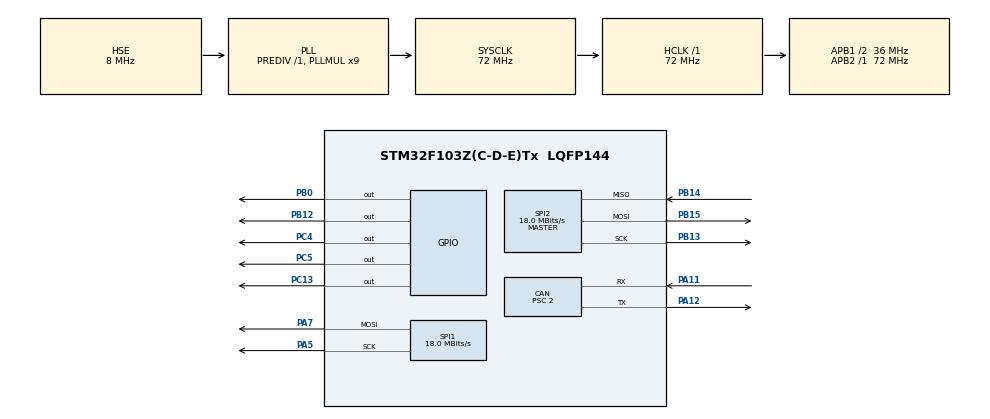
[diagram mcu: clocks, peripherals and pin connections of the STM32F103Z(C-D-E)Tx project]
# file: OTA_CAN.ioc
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CAN.ABOM=ENABLE
CAN.AWUM=ENABLE
CAN.BS1=CAN_BS1_15TQ
CAN.BS2=CAN_BS2_2TQ
CAN.CalculateBaudRate=1000000
CAN.CalculateTimeBit=1000
CAN.CalculateTimeQuantum=55.55555555555556
CAN.NART=ENABLE
CAN.Prescaler=2
CAN.TXFP=ENABLE
Mcu.Family=STM32F1
Mcu.Name=STM32F103Z(C-D-E)Tx
Mcu.Package=LQFP144
NVIC.PriorityGroup=NVIC_PRIORITYGROUP_4
NVIC.USB_LP_CAN1_RX0_IRQn=true\:8\:0\:true\:false\:true\:true\:true\:true
OSC_IN.Mode=HSE-External-Oscillator
OSC_IN.Signal=RCC_OSC_IN
OSC_OUT.Mode=HSE-External-Oscillator
OSC_OUT.Signal=RCC_OSC_OUT
PA11.Mode=CAN_Activate
PA11.Signal=CAN_RX
PA12.Mode=CAN_Activate
PA12.Signal=CAN_TX
PA13.Mode=Serial_Wire
PA13.Signal=SYS_JTMS-SWDIO
PA14.Mode=Serial_Wire
PA14.Signal=SYS_JTCK-SWCLK
PA5.Mode=TX_Only_Simplex_Unidirect_Master
PA5.Signal=SPI1_SCK
PA7.Mode=TX_Only_Simplex_Unidirect_Master
PA7.Signal=SPI1_MOSI
PB0.Signal=GPIO_Output
PB12.Signal=GPIO_Output
PB13.Mode=Full_Duplex_Master
PB13.Signal=SPI2_SCK
PB14.Mode=Full_Duplex_Master
PB14.Signal=SPI2_MISO
PB15.Mode=Full_Duplex_Master
PB15.Signal=SPI2_MOSI
PC13-TAMPER-RTC.Signal=GPIO_Output
PC4.Signal=GPIO_Output
PC5.Signal=GPIO_Output
ProjectManager.HeapSize=0x200
ProjectManager.StackSize=0x400
ProjectManager.TargetToolchain=MDK-ARM V5.32
RCC.AHBFreq_Value=72000000
RCC.APB1CLKDivider=RCC_HCLK_DIV2
RCC.APB1Freq_Value=36000000
RCC.APB1TimFreq_Value=72000000
RCC.APB2Freq_Value=72000000
RCC.APB2TimFreq_Value=72000000
RCC.HCLKFreq_Value=72000000
RCC.PLLMUL=RCC_PLL_MUL9
RCC.PLLSourceVirtual=RCC_PLLSOURCE_HSE
RCC.SYSCLKFreq_VALUE=72000000
RCC.SYSCLKSource=RCC_SYSCLKSOURCE_PLLCLK
RCC.USBFreq_Value=72000000
SPI1.BaudRatePrescaler=SPI_BAUDRATEPRESCALER_4
SPI1.CalculateBaudRate=18.0 MBits/s
SPI1.Direction=SPI_DIRECTION_2LINES
SPI1.Mode=SPI_MODE_MASTER
SPI1.VirtualType=VM_MASTER
SPI2.CalculateBaudRate=18.0 MBits/s
SPI2.Direction=SPI_DIRECTION_2LINES
SPI2.Mode=SPI_MODE_MASTER
SPI2.VirtualType=VM_MASTER
board=custom

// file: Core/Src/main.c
/* USER CODE BEGIN Header */
/**
 ******************************************************************************
 * @file           : main.c
 * @brief          : Main program body
 ******************************************************************************
 * @attention
 *
 * Copyright (c) 2026 STMicroelectronics.
 * All rights reserved.
 *
 * This software is licensed under terms that can be found in the LICENSE file
 * in the root directory of this software component.
 * If no LICENSE file comes with this software, it is provided AS-IS.
 *
 ******************************************************************************
 */
/* USER CODE END Header */
#include "main.h"
#include "can.h"
#include "spi.h"
#include "gpio.h"

/* USER CODE BEGIN Includes */
#include "stdio.h"
#include "string.h"
#include "BootLoader.h"
#include "OLED.h"
#include "MYCAN.h"
/* USER CODE END Includes */

/* USER CODE BEGIN PD */
#define Rec_Timeout_ms 1000
/* USER CODE END PD */

/* USER CODE BEGIN PV */
uint8_t Buffer[256];
volatile uint32_t Rec_code_len = 0;
volatile uint32_t Last_Rec_Tick = 0;
volatile uint8_t writeover_flag = 1;
volatile uint8_t write_flag = 0;
/* USER CODE END PV */

void SystemClock_Config(void);

int main(void)
{

  /* MCU Configuration--------------------------------------------------------*/

  /* Reset of all peripherals, Initializes the Flash interface and the Systick. */
  HAL_Init();

  /* Configure the system clock */
  SystemClock_Config();

  /* Initialize all configured peripherals */
  MX_GPIO_Init();
  MX_CAN_Init();
  MX_SPI1_Init();
  MX_SPI2_Init();
  /* USER CODE BEGIN 2 */
  CAN_Init();
  BootLoader_OTA_Init();

  /* USER CODE END 2 */

  /* Infinite loop */
  /* USER CODE BEGIN WHILE */
  while (1)
  {
    if (write_flag == 1)
    {
      BootLoader_OTA_Write(writeover_flag, Buffer, Rec_code_len);
      write_flag = 0;
    }
    if (writeover_flag == 0) // 未接收完成
    {
      if (HAL_GetTick() - Last_Rec_Tick >= Rec_Timeout_ms)
      {
        writeover_flag = 1;
        write_flag = 1;
      }
    }
    /* USER CODE END WHILE */

  }
}

void SystemClock_Config(void)
{
  RCC_OscInitTypeDef RCC_OscInitStruct = {0};
  RCC_ClkInitTypeDef RCC_ClkInitStruct = {0};

  /** Initializes the RCC Oscillators according to the specified parameters
  * in the RCC_OscInitTypeDef structure.
  */
  RCC_OscInitStruct.OscillatorType = RCC_OSCILLATORTYPE_HSE;
  RCC_OscInitStruct.HSEState = RCC_HSE_ON;
  RCC_OscInitStruct.HSEPredivValue = RCC_HSE_PREDIV_DIV1;
  RCC_OscInitStruct.HSIState = RCC_HSI_ON;
  RCC_OscInitStruct.PLL.PLLState = RCC_PLL_ON;
  RCC_OscInitStruct.PLL.PLLSource = RCC_PLLSOURCE_HSE;
  RCC_OscInitStruct.PLL.PLLMUL = RCC_PLL_MUL9;
  if (HAL_RCC_OscConfig(&RCC_OscInitStruct) != HAL_OK)
  {
    Error_Handler();
  }

  /** Initializes the CPU, AHB and APB buses clocks
  */
  RCC_ClkInitStruct.ClockType = RCC_CLOCKTYPE_HCLK|RCC_CLOCKTYPE_SYSCLK
                              |RCC_CLOCKTYPE_PCLK1|RCC_CLOCKTYPE_PCLK2;
  RCC_ClkInitStruct.SYSCLKSource = RCC_SYSCLKSOURCE_PLLCLK;
  RCC_ClkInitStruct.AHBCLKDivider = RCC_SYSCLK_DIV1;
  RCC_ClkInitStruct.APB1CLKDivider = RCC_HCLK_DIV2;
  RCC_ClkInitStruct.APB2CLKDivider = RCC_HCLK_DIV1;

  if (HAL_RCC_ClockConfig(&RCC_ClkInitStruct, FLASH_LATENCY_2) != HAL_OK)
  {
    Error_Handler();
  }
}

/* USER CODE BEGIN 4 */
void HAL_CAN_RxFifo0MsgPendingCallback(CAN_HandleTypeDef *hcan)
{
  if (hcan->Instance == CAN1)
  {
    CAN_RxHeaderTypeDef RxHeader;
    if (HAL_CAN_GetRxFifoFillLevel(hcan, CAN_RX_FIFO0) > 0)
    {
      HAL_CAN_GetRxMessage(hcan, CAN_RX_FIFO0, &RxHeader, Buffer);
      Rec_code_len = RxHeader.DLC;
    }
    Last_Rec_Tick = HAL_GetTick();
    write_flag = 1;
    writeover_flag = 0;
  }
}
/* USER CODE END 4 */

void Error_Handler(void)
{
  __disable_irq();
  while (1)
  {
  }
}
